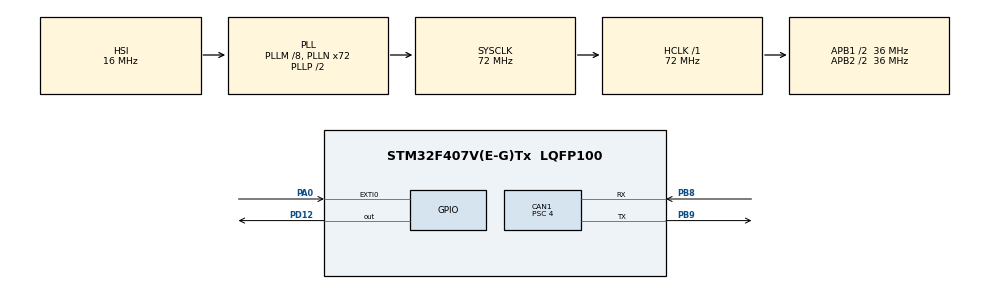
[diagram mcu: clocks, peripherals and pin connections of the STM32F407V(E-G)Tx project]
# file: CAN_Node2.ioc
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CAN1.BS1=CAN_BS1_15TQ
CAN1.BS2=CAN_BS2_2TQ
CAN1.CalculateBaudRate=500000
CAN1.CalculateTimeBit=1999.99
CAN1.CalculateTimeQuantum=111.11111111111111
CAN1.Prescaler=4
Mcu.Family=STM32F4
Mcu.Name=STM32F407V(E-G)Tx
Mcu.Package=LQFP100
NVIC.CAN1_RX0_IRQn=true\:0\:2\:false\:false\:true\:true\:true
NVIC.EXTI0_IRQn=true\:0\:1\:false\:false\:true\:true\:true
NVIC.PriorityGroup=NVIC_PRIORITYGROUP_0
NVIC.TIM1_UP_TIM10_IRQn=true\:0\:0\:false\:false\:true\:false\:true
NVIC.TimeBase=TIM1_UP_TIM10_IRQn
NVIC.TimeBaseIP=TIM1
PA0-WKUP.Signal=GPXTI0
PA13.Mode=Serial_Wire
PA13.Signal=SYS_JTMS-SWDIO
PA14.Mode=Serial_Wire
PA14.Signal=SYS_JTCK-SWCLK
PB8.Mode=CAN_Activate
PB8.Signal=CAN1_RX
PB9.Mode=CAN_Activate
PB9.Signal=CAN1_TX
PD12.Signal=GPIO_Output
PH0-OSC_IN.Mode=HSE-External-Oscillator
PH0-OSC_IN.Signal=RCC_OSC_IN
PH1-OSC_OUT.Mode=HSE-External-Oscillator
PH1-OSC_OUT.Signal=RCC_OSC_OUT
ProjectManager.HeapSize=0x200
ProjectManager.StackSize=0x400
ProjectManager.TargetToolchain=STM32CubeIDE
RCC.48MHZClocksFreq_Value=20571428.57142857
RCC.AHBFreq_Value=72000000
RCC.APB1CLKDivider=RCC_HCLK_DIV2
RCC.APB1Freq_Value=36000000
RCC.APB1TimFreq_Value=72000000
RCC.APB2CLKDivider=RCC_HCLK_DIV2
RCC.APB2Freq_Value=36000000
RCC.APB2TimFreq_Value=72000000
RCC.CortexFreq_Value=72000000
RCC.HCLKFreq_Value=72000000
RCC.HSE_VALUE=8000000
RCC.HSI_VALUE=16000000
RCC.LSE_VALUE=32768
RCC.PLLM=8
RCC.PLLN=72
RCC.PLLQ=7
RCC.SYSCLKFreq_VALUE=72000000
RCC.SYSCLKSource=RCC_SYSCLKSOURCE_PLLCLK
RCC.VCOOutputFreq_Value=144000000
VP_SYS_VS_tim1.Mode=TIM1
board=STM32F407G-DISC1

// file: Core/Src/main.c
/* USER CODE BEGIN Header */
/**
  ******************************************************************************
  * @file           : main.c
  * @brief          : Main program body
  ******************************************************************************
  * @attention
  *
  * <h2><center>&copy; Copyright (c) 2023 STMicroelectronics.
  * All rights reserved.</center></h2>
  *
  * This software component is licensed by ST under BSD 3-Clause license,
  * the "License"; You may not use this file except in compliance with the
  * License. You may obtain a copy of the License at:
  *                        opensource.org/licenses/BSD-3-Clause
  *
  ******************************************************************************
  */
/* USER CODE END Header */
#include "main.h"

CAN_HandleTypeDef hcan1;

void SystemClock_Config(void);
static void MX_GPIO_Init(void);
static void MX_CAN1_Init(void);

/* USER CODE BEGIN 0 */
CAN_TxHeaderTypeDef TxHeader;
CAN_RxHeaderTypeDef RxHeader;

uint32_t TxMailbox;

uint8_t TxData[8];
uint8_t RxData[8];

int datacheck = 0;

void HAL_CAN_RxFifo0MsgPendingCallback(CAN_HandleTypeDef *hcan1)
{
	HAL_CAN_GetRxMessage(hcan1, CAN_RX_FIFO0, &RxHeader, RxData);
	if (RxHeader.DLC == 2)
	{
		datacheck = 1;
	}
}

void HAL_GPIO_EXTI_Callback(uint16_t GPIO_Pin)
{
	if (GPIO_Pin == GPIO_PIN_0)
	{
		TxData[0] = 100;   // ms Delay
		TxData[1] = 40;    // loop rep

		if(HAL_CAN_AddTxMessage(&hcan1, &TxHeader, TxData, &TxMailbox)!=HAL_OK)
		{
		    HAL_GPIO_WritePin(GPIOD, GPIO_PIN_12, 1);

		}
	}
}
/* USER CODE END 0 */

int main(void)
{

  /* MCU Configuration--------------------------------------------------------*/

  /* Reset of all peripherals, Initializes the Flash interface and the Systick. */
  HAL_Init();

  /* Configure the system clock */
  SystemClock_Config();

  /* Initialize all configured peripherals */
  MX_GPIO_Init();
  MX_CAN1_Init();
  /* USER CODE BEGIN 2 */
  HAL_CAN_Start(&hcan1);
  HAL_CAN_ActivateNotification(&hcan1, CAN_IT_RX_FIFO0_MSG_PENDING);

    TxHeader.DLC = 2;
    TxHeader.ExtId = 0;
    TxHeader.IDE = CAN_ID_STD;
    TxHeader.RTR = CAN_RTR_DATA;
    TxHeader.StdId = 0x103;
    TxHeader.TransmitGlobalTime = DISABLE;
  /* USER CODE END 2 */

  /* Infinite loop */
  while (1)
  {
	  if (datacheck)
	 		  {
	 			  // blink the LED
	 			  for (int i=0; i<RxData[1]; i++)
	 			  {
	 				  HAL_GPIO_TogglePin(GPIOD, GPIO_PIN_12);
	 				  HAL_Delay(RxData[0]);
	 			  }

	 			  datacheck = 0;

	 				TxData[0] = 100;   // ms Delay
	 				TxData[1] = 40;    // loop rep

	 				HAL_CAN_AddTxMessage(&hcan1, &TxHeader, TxData, &TxMailbox);
	 		  }
  }
}

void SystemClock_Config(void)
{
  RCC_OscInitTypeDef RCC_OscInitStruct = {0};
  RCC_ClkInitTypeDef RCC_ClkInitStruct = {0};

  /** Configure the main internal regulator output voltage
  */
  __HAL_RCC_PWR_CLK_ENABLE();
  __HAL_PWR_VOLTAGESCALING_CONFIG(PWR_REGULATOR_VOLTAGE_SCALE1);
  /** Initializes the RCC Oscillators according to the specified parameters
  * in the RCC_OscInitTypeDef structure.
  */
  RCC_OscInitStruct.OscillatorType = RCC_OSCILLATORTYPE_HSI;
  RCC_OscInitStruct.HSIState = RCC_HSI_ON;
  RCC_OscInitStruct.HSICalibrationValue = RCC_HSICALIBRATION_DEFAULT;
  RCC_OscInitStruct.PLL.PLLState = RCC_PLL_ON;
  RCC_OscInitStruct.PLL.PLLSource = RCC_PLLSOURCE_HSI;
  RCC_OscInitStruct.PLL.PLLM = 8;
  RCC_OscInitStruct.PLL.PLLN = 72;
  RCC_OscInitStruct.PLL.PLLP = RCC_PLLP_DIV2;
  RCC_OscInitStruct.PLL.PLLQ = 7;
  if (HAL_RCC_OscConfig(&RCC_OscInitStruct) != HAL_OK)
  {
    Error_Handler();
  }
  /** Initializes the CPU, AHB and APB buses clocks
  */
  RCC_ClkInitStruct.ClockType = RCC_CLOCKTYPE_HCLK|RCC_CLOCKTYPE_SYSCLK
                              |RCC_CLOCKTYPE_PCLK1|RCC_CLOCKTYPE_PCLK2;
  RCC_ClkInitStruct.SYSCLKSource = RCC_SYSCLKSOURCE_PLLCLK;
  RCC_ClkInitStruct.AHBCLKDivider = RCC_SYSCLK_DIV1;
  RCC_ClkInitStruct.APB1CLKDivider = RCC_HCLK_DIV2;
  RCC_ClkInitStruct.APB2CLKDivider = RCC_HCLK_DIV2;

  if (HAL_RCC_ClockConfig(&RCC_ClkInitStruct, FLASH_LATENCY_2) != HAL_OK)
  {
    Error_Handler();
  }
}

static void MX_CAN1_Init(void)
{

  hcan1.Instance = CAN1;
  hcan1.Init.Prescaler = 4;
  hcan1.Init.Mode = CAN_MODE_NORMAL;
  hcan1.Init.SyncJumpWidth = CAN_SJW_1TQ;
  hcan1.Init.TimeSeg1 = CAN_BS1_15TQ;
  hcan1.Init.TimeSeg2 = CAN_BS2_2TQ;
  hcan1.Init.TimeTriggeredMode = DISABLE;
  hcan1.Init.AutoBusOff = DISABLE;
  hcan1.Init.AutoWakeUp = DISABLE;
  hcan1.Init.AutoRetransmission = DISABLE;
  hcan1.Init.ReceiveFifoLocked = DISABLE;
  hcan1.Init.TransmitFifoPriority = DISABLE;
  if (HAL_CAN_Init(&hcan1) != HAL_OK)
  {
    Error_Handler();
  }
  /* USER CODE BEGIN CAN1_Init 2 */
  CAN_FilterTypeDef canfilterconfig;
    canfilterconfig.FilterActivation = CAN_FILTER_ENABLE;
      canfilterconfig.FilterBank = 10;  // anything between 0 to SlaveStartFilterBank
      canfilterconfig.FilterFIFOAssignment = CAN_RX_FIFO0;
      canfilterconfig.FilterIdHigh = 0x446<<5;
      canfilterconfig.FilterIdLow = 0x0000;
      canfilterconfig.FilterMaskIdHigh = 0x446<<5;
      canfilterconfig.FilterMaskIdLow = 0x0000;
      canfilterconfig.FilterMode = CAN_FILTERMODE_IDMASK;
      canfilterconfig.FilterScale = CAN_FILTERSCALE_32BIT;
      canfilterconfig.SlaveStartFilterBank = 13;  // 13 to 27 are assigned to slave CAN (CAN 2) OR 0 to 12 are assgned to CAN1

      HAL_CAN_ConfigFilter(&hcan1, &canfilterconfig);
  /* USER CODE END CAN1_Init 2 */

}

static void MX_GPIO_Init(void)
{
  GPIO_InitTypeDef GPIO_InitStruct = {0};

  /* GPIO Ports Clock Enable */
  __HAL_RCC_GPIOH_CLK_ENABLE();
  __HAL_RCC_GPIOA_CLK_ENABLE();
  __HAL_RCC_GPIOD_CLK_ENABLE();
  __HAL_RCC_GPIOB_CLK_ENABLE();

  /*Configure GPIO pin Output Level */
  HAL_GPIO_WritePin(GPIOD, GPIO_PIN_12, GPIO_PIN_RESET);

  /*Configure GPIO pin : PA0 */
  GPIO_InitStruct.Pin = GPIO_PIN_0;
  GPIO_InitStruct.Mode = GPIO_MODE_IT_RISING;
  GPIO_InitStruct.Pull = GPIO_NOPULL;
  HAL_GPIO_Init(GPIOA, &GPIO_InitStruct);

  /*Configure GPIO pin : PD12 */
  GPIO_InitStruct.Pin = GPIO_PIN_12;
  GPIO_InitStruct.Mode = GPIO_MODE_OUTPUT_PP;
  GPIO_InitStruct.Pull = GPIO_NOPULL;
  GPIO_InitStruct.Speed = GPIO_SPEED_FREQ_LOW;
  HAL_GPIO_Init(GPIOD, &GPIO_InitStruct);

  /* EXTI interrupt init*/
  HAL_NVIC_SetPriority(EXTI0_IRQn, 0, 1);
  HAL_NVIC_EnableIRQ(EXTI0_IRQn);

}

void HAL_TIM_PeriodElapsedCallback(TIM_HandleTypeDef *htim)
{
  if (htim->Instance == TIM1) {
    HAL_IncTick();
  }
}

void Error_Handler(void)
{
  __disable_irq();
  while (1)
  {
  }
}

/************************ (C) COPYRIGHT STMicroelectronics *****END OF FILE****/
